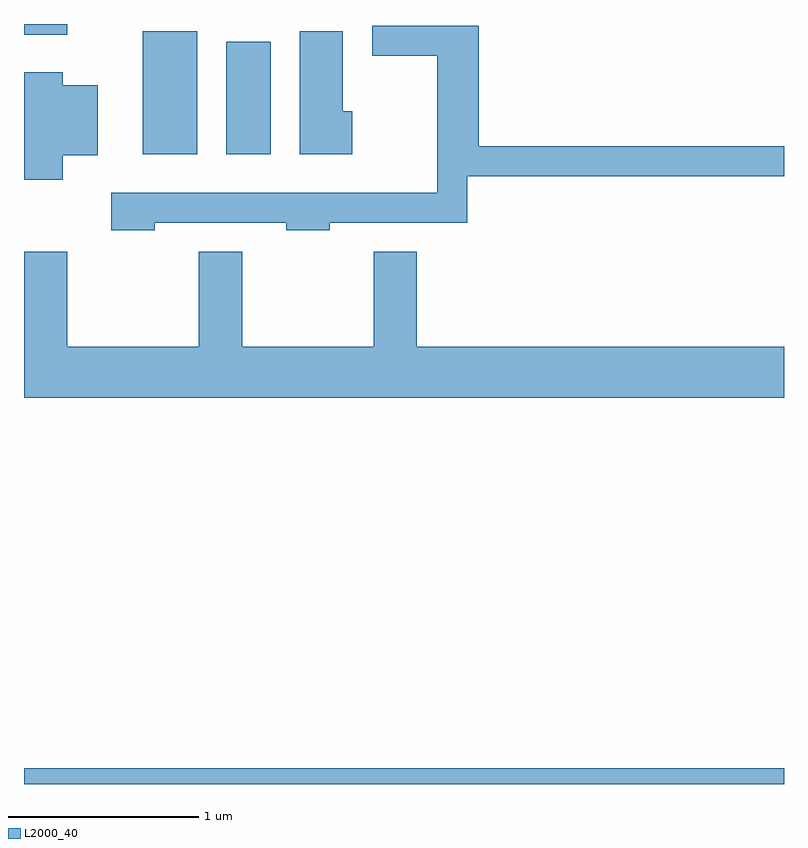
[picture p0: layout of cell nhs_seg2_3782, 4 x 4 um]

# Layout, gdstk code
import gdstk
lib = gdstk.Library(unit=1e-6, precision=1e-09)
def R(c, l, rs):  # rectangles x0, y0, x1, y1
    for r in rs: c.add(gdstk.rectangle(r[:2], r[2:], *l))
def P(c, l, *ps):  # polygons
    for p in ps: c.add(gdstk.Polygon(p, *l))
L2000_40 = (2000, 40)

nhs_seg2_3782 = lib.new_cell('nhs_seg2_3782')
R(nhs_seg2_3782, L2000_40, [(295.611,1081.802,299.611,1081.884), (296.236,1085.116,296.524,1085.764), (296.676,1085.116,296.909,1085.709), (295.611,1085.746,295.839,1085.802)])
P(nhs_seg2_3782, L2000_40, [(296.299,1084.756),(296.991,1084.756),(296.991,1084.716),(297.219,1084.716),(297.219,1084.756),(297.944,1084.756),(297.944,1085.001),(299.611,1085.001),(299.611,1085.159),(298.004,1085.159),(298.004,1085.794),(297.443,1085.794),(297.443,1085.636),(297.786,1085.636),(297.786,1084.914),(296.071,1084.914),(296.071,1084.716),(296.299,1084.716)],
  [(297.339,1085.344),(297.289,1085.344),(297.289,1085.764),(297.061,1085.764),(297.061,1085.116),(297.339,1085.116)],
  [(295.814,1085.111),(295.999,1085.111),(295.999,1085.479),(295.814,1085.479),(295.814,1085.549),(295.611,1085.549),(295.611,1084.981),(295.814,1084.981)],
  [(299.611,1084.104),(297.679,1084.104),(297.679,1084.604),(297.451,1084.604),(297.451,1084.104),(296.759,1084.104),(296.759,1084.604),(296.531,1084.604),(296.531,1084.104),(295.839,1084.104),(295.839,1084.604),(295.611,1084.604),(295.611,1083.836),(299.611,1083.836)])

lib.write_gds('nhs_seg2_3782.gds')
